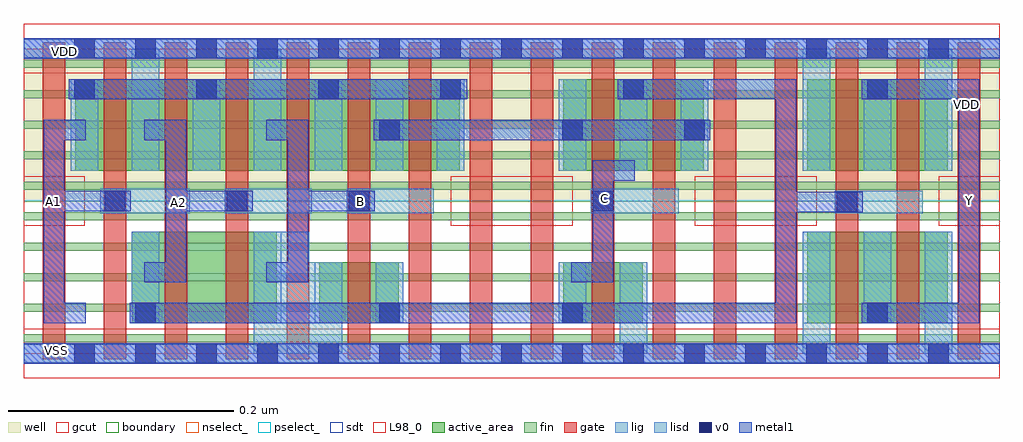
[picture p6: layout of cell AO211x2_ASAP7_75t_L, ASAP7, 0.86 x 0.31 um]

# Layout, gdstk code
import gdstk
lib = gdstk.Library(unit=1e-6, precision=2.5e-10)
def R(c, l, rs):  # rectangles x0, y0, x1, y1
    for r in rs: c.add(gdstk.rectangle(r[:2], r[2:], *l))
def A(c, l, x, y, w, h, nx, ny, dx, dy):  # array of equal rectangles
    R(c, l, [(x+i*dx, y+j*dy, x+i*dx+w, y+j*dy+h) for i in range(nx) for j in range(ny)])
def P(c, l, *ps):  # polygons
    for p in ps: c.add(gdstk.Polygon(p, *l))
well = (1, 0)
fin = (2, 0)
gate = (7, 0)
gcut = (10, 0)
active_area = (11, 0)
nselect_ = (12, 0)
pselect_ = (13, 0)
lig = (16, 0)
lisd = (17, 0)
v0 = (18, 0)
metal1 = (19, 0)
sdt = (88, 0)
L98_0 = (98, 0)
boundary = (100, 0)

ao211x2_asap7_75t_l = lib.new_cell('AO211x2_ASAP7_75t_L')
R(ao211x2_asap7_75t_l, well, [(0,0.135,0.864,0.27)])
A(ao211x2_asap7_75t_l, fin, 0, 0.01, 0.864, 0.007, 1, 10, 0, 0.027)
A(ao211x2_asap7_75t_l, gate, 0.017, -0.005, 0.02, 0.2805, 16, 1, 0.054, 0)
R(ao211x2_asap7_75t_l, gcut, [(0,-0.022,0.864,0.022), (0,0.113,0.054,0.157), (0.378,0.113,0.486,0.157), (0.594,0.113,0.702,0.157), (0.81,0.113,0.864,0.157), (0,0.248,0.864,0.292)])
R(ao211x2_asap7_75t_l, active_area, [(0.096,0.027,0.224,0.108), (0.262,0.027,0.332,0.081), (0.478,0.027,0.548,0.081), (0.694,0.027,0.818,0.108), (0.046,0.162,0.386,0.243), (0.478,0.162,0.602,0.243), (0.694,0.162,0.818,0.243)])
R(ao211x2_asap7_75t_l, nselect_, [(0,0,0.864,0.135)])
R(ao211x2_asap7_75t_l, pselect_, [(0,0.135,0.864,0.27)])
R(ao211x2_asap7_75t_l, lig, [(0,-0.008,0.864,0.008), (0.068,0.124,0.147,0.146), (0.178,0.124,0.255,0.146), (0.286,0.124,0.363,0.146), (0.502,0.124,0.58,0.146), (0.718,0.124,0.796,0.144), (0,0.262,0.864,0.278)])
A(ao211x2_asap7_75t_l, lisd, 0.042, 0.162, 0.024, 0.081, 3, 1, 0.108, 0)
A(ao211x2_asap7_75t_l, lisd, 0.474, 0.162, 0.024, 0.081, 3, 1, 0.054, 0)
R(ao211x2_asap7_75t_l, lisd, [(0.528,0,0.552,0.081), (0.69,0,0.714,0.108), (0.798,0,0.822,0.108), (0.096,0.027,0.12,0.108), (0.312,0.027,0.336,0.081), (0.474,0.027,0.498,0.081), (0.744,0.027,0.768,0.108), (0.096,0.162,0.12,0.27), (0.204,0.162,0.228,0.27), (0.312,0.162,0.336,0.243), (0.366,0.162,0.39,0.243), (0.69,0.162,0.714,0.27), (0.744,0.162,0.768,0.243), (0.798,0.162,0.822,0.27)])
P(ao211x2_asap7_75t_l, lisd, [(0.282,0.081),(0.253,0.081),(0.253,0.108),(0.204,0.108),(0.204,0),(0.282,0)])
A(ao211x2_asap7_75t_l, v0, 0.045, -0.009, 0.018, 0.018, 15, 2, 0.054, 0.27)
A(ao211x2_asap7_75t_l, v0, 0.072, 0.126, 0.018, 0.018, 3, 1, 0.108, 0)
A(ao211x2_asap7_75t_l, v0, 0.045, 0.225, 0.018, 0.018, 4, 1, 0.108, 0)
R(ao211x2_asap7_75t_l, v0, [(0.099,0.027,0.117,0.045), (0.315,0.027,0.333,0.045), (0.477,0.027,0.495,0.045), (0.747,0.027,0.765,0.045), (0.72,0.125,0.738,0.143), (0.504,0.126,0.522,0.144), (0.315,0.189,0.333,0.207), (0.477,0.189,0.495,0.207), (0.585,0.189,0.603,0.207), (0.531,0.225,0.549,0.243), (0.747,0.225,0.765,0.243)])
R(ao211x2_asap7_75t_l, metal1, [(0,-0.009,0.864,0.009), (0.31,0.189,0.608,0.207), (0.04,0.225,0.393,0.243), (0,0.261,0.864,0.279)])
P(ao211x2_asap7_75t_l, metal1, [(0.846,0.243),(0.742,0.243),(0.742,0.225),(0.828,0.225),(0.828,0.045),(0.742,0.045),(0.742,0.027),(0.846,0.027)],
  [(0.743,0.143),(0.684,0.143),(0.684,0.243),(0.526,0.243),(0.526,0.225),(0.666,0.225),(0.666,0.045),(0.094,0.045),(0.094,0.027),(0.684,0.027),(0.684,0.125),(0.743,0.125)],
  [(0.541,0.171),(0.504,0.171),(0.504,0.081),(0.485,0.081),(0.485,0.063),(0.522,0.063),(0.522,0.153),(0.541,0.153)],
  [(0.311,0.144),(0.252,0.144),(0.252,0.207),(0.215,0.207),(0.215,0.189),(0.234,0.189),(0.234,0.081),(0.215,0.081),(0.215,0.063),(0.252,0.063),(0.252,0.126),(0.311,0.126)],
  [(0.203,0.144),(0.144,0.144),(0.144,0.207),(0.107,0.207),(0.107,0.189),(0.126,0.189),(0.126,0.081),(0.107,0.081),(0.107,0.063),(0.144,0.063),(0.144,0.126),(0.203,0.126)],
  [(0.095,0.144),(0.036,0.144),(0.036,0.189),(0.055,0.189),(0.055,0.207),(0.018,0.207),(0.018,0.027),(0.055,0.027),(0.055,0.045),(0.036,0.045),(0.036,0.126),(0.095,0.126)])
A(ao211x2_asap7_75t_l, sdt, 0.69, 0.027, 0.024, 0.081, 3, 2, 0.054, 0.135)
A(ao211x2_asap7_75t_l, sdt, 0.042, 0.162, 0.024, 0.081, 7, 1, 0.054, 0)
A(ao211x2_asap7_75t_l, sdt, 0.474, 0.162, 0.024, 0.081, 3, 1, 0.054, 0)
R(ao211x2_asap7_75t_l, sdt, [(0.096,0.027,0.12,0.108), (0.204,0.027,0.228,0.108), (0.258,0.027,0.282,0.081), (0.312,0.027,0.336,0.081), (0.474,0.027,0.498,0.081), (0.528,0.027,0.552,0.081)])
R(ao211x2_asap7_75t_l, L98_0, [(0,0,0.864,0.27)])
R(ao211x2_asap7_75t_l, boundary, [(0,0,0.864,0.27)])
ao211x2_asap7_75t_l.add(gdstk.Label('Y', (0.8375,0.1355), layer=19, texttype=251))
ao211x2_asap7_75t_l.add(gdstk.Label('C', (0.514,0.137), layer=19, texttype=251))
ao211x2_asap7_75t_l.add(gdstk.Label('B', (0.298,0.1345), layer=19, texttype=251))
ao211x2_asap7_75t_l.add(gdstk.Label('A2', (0.137,0.1335), layer=19, texttype=251))
ao211x2_asap7_75t_l.add(gdstk.Label('VDD', (0.036,0.2675), layer=19, texttype=251))
ao211x2_asap7_75t_l.add(gdstk.Label('VSS', (0.029,0.003), layer=19, texttype=251))
ao211x2_asap7_75t_l.add(gdstk.Label('A1', (0.0265,0.135), layer=19, texttype=251))
ao211x2_asap7_75t_l.add(gdstk.Label('VDD', (0.835,0.22), layer=1, texttype=251))
ao211x2_asap7_75t_l.add(gdstk.Label('VSS', (0.904,0.219), layer=3, texttype=251))

lib.write_gds('AO211x2_ASAP7_75t_L.gds')
